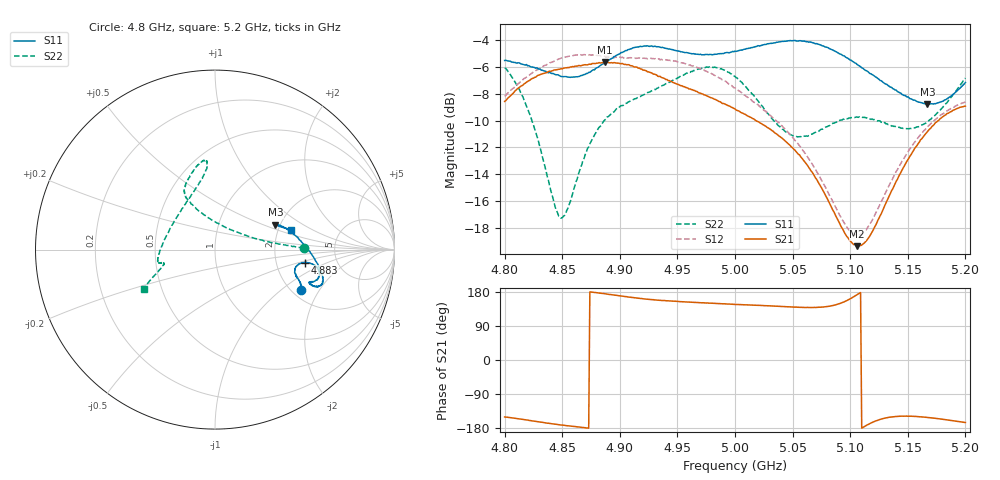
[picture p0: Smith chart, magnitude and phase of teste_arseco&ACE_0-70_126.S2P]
! Network Analyzer HP8722D
! Hewlett-Packard
! Data name: Linha & Wilkinson
! Saver's name: Rodrigo Anjos
! Comments: Teste da utilização de aquisição
! continua pelo VNA HP8722D
! Time and date: 8/5/2025 13:48
!  Frequency  S11  S21  S12  S22
# HZ  S  MA R 50
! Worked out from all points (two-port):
!   401 points, 4.8 GHz to 5.2 GHz, reference 50 ohm
!   highest |S21| = -5.65 dB at 4.887 GHz (marker M1); lowest = -19.4 dB at 5.106 GHz (marker M2)
!   |S21| within 3 dB of the highest: start of sweep to 4.988 GHz
!   lowest |S11| = -8.8 dB at 5.167 GHz (marker M3), VSWR 2.15, Z = 94.3 + j30.4 ohm
!   |S11| at or under -10 dB: nowhere
!   |S22| runs from -17.3 to -6.0 dB; largest |S21 - S12| = 1.1
!   S11 on the Smith chart (normalised r, x): 4.8 GHz: 2.23, -1.40; 4.883 GHz: 2.93, -0.57; 5.2 GHz: 2.35, +0.64
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4.8e9  0.5294 -25.3  0.3727 -150.3  0.3899 8.9  0.4967 1.0
4.821e9  0.5065 -20.7  0.4447 -159.3  0.4644 6.0  0.3403 6.0
4.843e9  0.4712 -17.3  0.4881 -169.1  0.5262 2.7  0.156 39.1
4.848e9  0.4636 -16.2  0.4911 -171.0  0.5375 1.8  0.1387 58.0
4.854e9  0.4604 -14.9  0.4972 -173.4  0.5463 0.7  0.1466 82.3
4.867e9  0.4652 -10.9  0.5073 -177.8  0.5544 -1.0  0.2164 109.8
4.883e9  0.5068 -8.2  0.5178 176.2  0.5512 -2.3  0.3008 118.3
4.887e9  0.5193 -8.1  0.5218 174.9  0.5486 -2.2  0.3181 118.5
4.913e9  0.5919 -11.6  0.5001 164.2  0.5407 -1.8  0.3812 116.4
4.934e9  0.5948 -16.3  0.4614 157.6  0.5369 -2.6  0.4207 110.8
4.975e9  0.5573 -19.4  0.3918 150.3  0.4832 -6.0  0.5002 97.7
5e9  0.5733 -20.0  0.3494 146.7  0.4184 -6.1  0.4612 95.7
5.043e9  0.6244 -18.3  0.2666 140.9  0.2955 1.8  0.2893 130.5
5.067e9  0.6168 -13.8  0.2031 138.6  0.2179 9.0  0.2816 165.0
5.095e9  0.5497 -4.2  0.121 153.8  0.1311 34.0  0.3202 -172.2
5.106e9  0.5114 0.9  0.1077 172.4  0.1186 55.0  0.3261 -168.9
5.117e9  0.4736 6.6  0.1175 -167.8  0.1302 76.3  0.3209 -166.6
5.134e9  0.4239 14.9  0.1658 -151.0  0.1819 94.6  0.3052 -166.0
5.152e9  0.3812 21.0  0.2335 -148.5  0.2484 100.3  0.2957 -164.5
5.167e9  0.3642 22.6  0.2872 -151.6  0.2992 101.2  0.3122 -161.5
5.183e9  0.3784 20.2  0.3322 -157.7  0.342 101.2  0.3656 -157.0
5.2e9  0.4381 14.6  0.3578 -165.0  0.3714 101.6  0.455 -151.1
